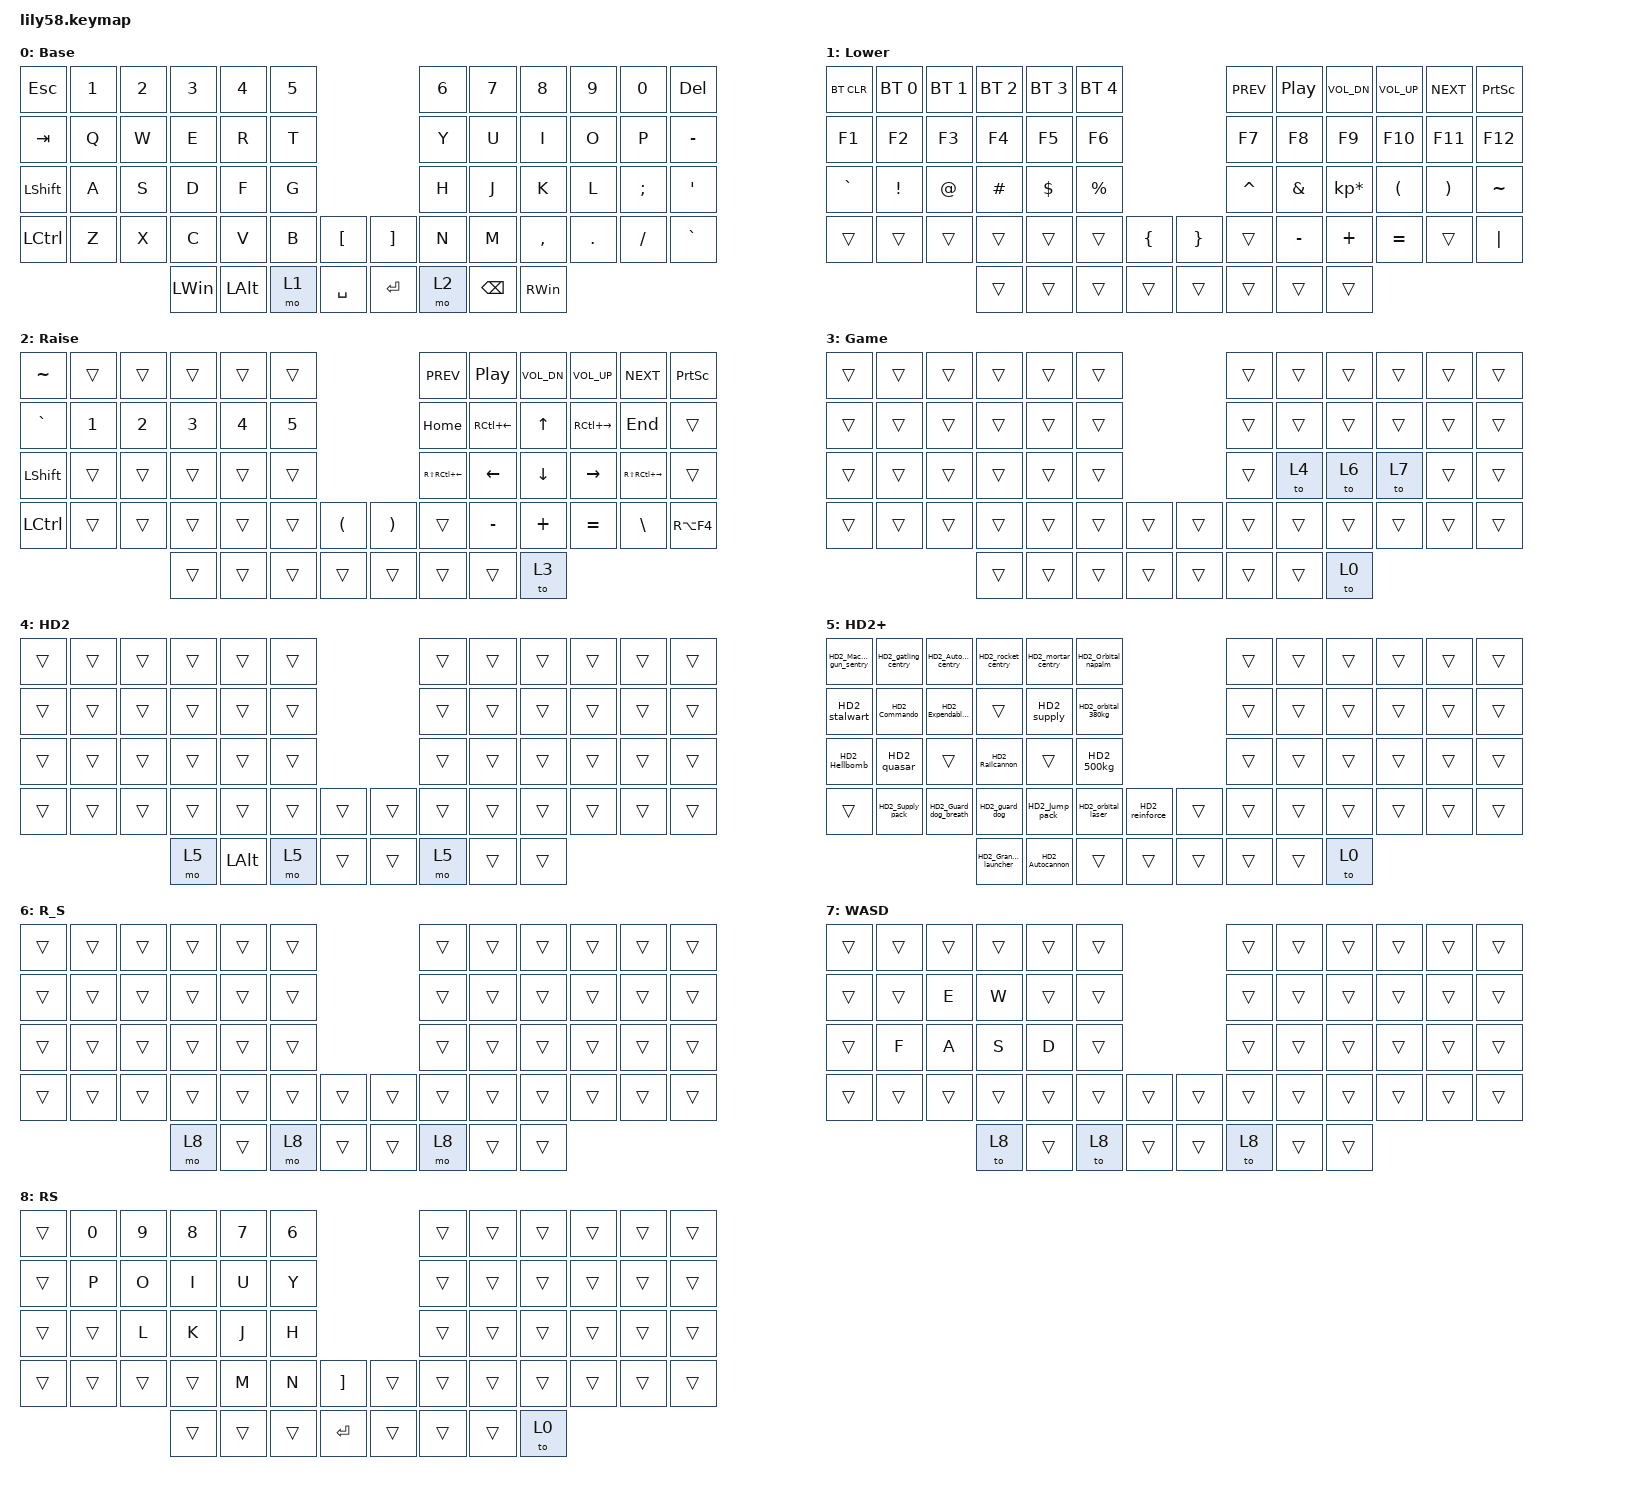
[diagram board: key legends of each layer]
/*
 * Copyright (c) 2020 The ZMK Contributors
 *
 * SPDX-License-Identifier: MIT
 */

#include <behaviors.dtsi>
#include <dt-bindings/zmk/bt.h>
#include <dt-bindings/zmk/keys.h>

/ {
    combos {
        compatible = "zmk,combos";

        lang_shift {
            bindings = <&kp LG(SPACE)>;
            key-positions = <28 27 26>;
            timeout-ms = <200>;
            layers = <0>;
        };
    };

    macros {
        HD2_supply: hd2_supply {
            compatible = "zmk,behavior-macro";
            #binding-cells = <0>;
            bindings = <&kt LCTRL &trans &kp D &trans &kp D &trans &kp E &trans &kp F &trans &kt LCTRL>;
            label = "HD2_SEPLY";
        };

        HD2_reinforce: hd2_reinforce {
            compatible = "zmk,behavior-macro";
            #binding-cells = <0>;
            bindings = <&kt LCTRL &trans &kp E &trans &kp D &trans &kp F &trans &kp S &trans &kp E &trans &kt LCTRL>;
            label = "HD2_REINFORCE";
        };

        HD2_gatling_centry: hd2_gatling_centry {
            compatible = "zmk,behavior-macro";
            #binding-cells = <0>;
            bindings = <&kt LCTRL &trans &kp D &trans &kp E &trans &kp F &trans &kp S &trans &kt LCTRL>;
            label = "HD2_GATLING_CENTRY";
        };

        HD2_stalwart: HD2_stalwart {
            compatible = "zmk,behavior-macro";
            #binding-cells = <0>;
            bindings = <&kt LCTRL &trans &kp D &trans &kp S &trans &kp D &trans &kp E &trans &kp E &trans &kp S &trans &kt LCTRL>;
            label = "HD2_STALWART";
        };

        HD2_500kg: HD2_500kg {
            compatible = "zmk,behavior-macro";
            #binding-cells = <0>;
            bindings = <&kt LCTRL &trans &kp E &trans &kp F &trans &kp D &trans &kp D &trans &kp D &trans &kt LCTRL>;
            label = "HD2_500KG";
        };

        HD2_guard_dog: HD2_guard_dog {
            compatible = "zmk,behavior-macro";
            #binding-cells = <0>;
            bindings = <&kt LCTRL &trans &kp D &trans &kp E &trans &kp S &trans &kp E &trans &kp F &trans &kp D &trans &kt LCTRL>;
            label = "HD2_GUARD_DOG";
        };

        HD2_rocket_centry: HD2_rocket_centry {
            compatible = "zmk,behavior-macro";
            #binding-cells = <0>;
            bindings = <&kt LCTRL &trans &kp D &trans &kp E &trans &kp F &trans &kp F &trans &kp S &trans &kt LCTRL>;
            label = "HD2_ROCKET_CENTRY";
        };

        HD2_guard_dog_rover: HD2_guard_dog_rover {
            compatible = "zmk,behavior-macro";
            #binding-cells = <0>;
            bindings = <&kt LCTRL &trans &kp D &trans &kp E &trans &kp S &trans &kp E &trans &kp F &trans &kp F &trans &kt LCTRL>;
            label = "HD2_GUARD_DOG_ROVER";
        };

        HD2_orbital_laser: HD2_orbital_laser {
            compatible = "zmk,behavior-macro";
            #binding-cells = <0>;
            bindings = <&kt LCTRL &trans &kp F &trans &kp D &trans &kp E &trans &kp F &trans &kp D &trans &kt LCTRL>;
            label = "HD2_ORBITAL_LASER";
        };

        HD2_mortar_centry: HD2_mortar_centry {
            compatible = "zmk,behavior-macro";
            #binding-cells = <0>;
            bindings = <&kt LCTRL &trans &kp D &trans &kp E &trans &kp F &trans &kp F &trans &kp D &trans &kt LCTRL>;
            label = "HD2_MORTAR_CENTRY";
        };

        HD2_Autocannon_centry: HD2_Autocannon_centry {
            compatible = "zmk,behavior-macro";
            #binding-cells = <0>;
            bindings = <&kt LCTRL &trans &kp D &trans &kp E &trans &kp F &trans &kp E &trans &kp S &trans &kp E &trans &kt LCTRL>;
            label = "HD2_AUTOCANNON_CENTRY";
        };

        HD2_orbital_380kg: HD2_orbital_380kg {
            compatible = "zmk,behavior-macro";
            #binding-cells = <0>;
            bindings = <&kt LCTRL &trans &kp F &trans &kp D &trans &kp E &trans &kp E &trans &kp S &trans &kp D &trans &kp D &trans &kt LCTRL>;
            label = "HD2_ORBITAL_380KG";
        };

        HD2_Anti_material_rifle: HD2_Anti_material_rifle {
            compatible = "zmk,behavior-macro";
            #binding-cells = <0>;
            bindings = <&kt LCTRL &trans &kp D &trans &kp S &trans &kp F &trans &kp E &trans &kp D &trans &kt LCTRL>;
            label = "HD2_ANTI_MATERIAL_RIFLE";
        };

        HD2_Jump_pack: HD2_Jump_pack {
            compatible = "zmk,behavior-macro";
            #binding-cells = <0>;
            bindings = <&kt LCTRL &trans &kp D &trans &kp E &trans &kp E &trans &kp D &trans &kp E &trans &kt LCTRL>;
            label = "HD2_JUMP_PACK";
        };

        HD2_Eagle_napalm: HD2_Eagle_napalm {
            compatible = "zmk,behavior-macro";
            #binding-cells = <0>;
            bindings = <&kt LCTRL &trans &kp E &trans &kp F &trans &kp D &trans &kp E &trans &kt LCTRL>;
            label = "HD2_EAGLE_NAPALM";
        };

        HD2_quasar: HD2_quasar {
            compatible = "zmk,behavior-macro";
            #binding-cells = <0>;
            bindings = <&kt LCTRL &trans &kp D &trans &kp D &trans &kp E &trans &kp S &trans &kp F &trans &kt LCTRL>;
            label = "HD2_QUASAR";
        };

        HD2_Orbital_napalm: HD2_Orbital_napalm {
            compatible = "zmk,behavior-macro";
            #binding-cells = <0>;
            bindings = <&kt LCTRL &trans &kp F &trans &kp F &trans &kp D &trans &kp S &trans &kp F &trans &kp E &trans &kt LCTRL>;
            label = "HD2_ORBITAL_NAPALM";
        };

        HD2_Machine_gun_sentry: HD2_Machine_gun_sentry {
            compatible = "zmk,behavior-macro";
            #binding-cells = <0>;
            bindings = <&kt LCTRL &trans &kp D &trans &kp E &trans &kp F &trans &kp F &trans &kp E &trans &kt LCTRL>;
            label = "HD2_MACHINE_GUN_SENTRY";
        };

        HD2_Granade_launcher: HD2_Granade_launcher {
            compatible = "zmk,behavior-macro";
            #binding-cells = <0>;
            bindings = <&kt LCTRL &trans &kp D &trans &kp S &trans &kp E &trans &kp S &trans &kp D &trans &kt LCTRL>;
            label = "HD2_GRANADE_LAUNCHER";
        };

        HD2_Autocannon: HD2_Autocannon {
            compatible = "zmk,behavior-macro";
            #binding-cells = <0>;
            bindings = <&kt LCTRL &trans &kp D &trans &kp S &trans &kp D &trans &kp E &trans &kp E &trans &kp F &trans &kt LCTRL>;
            label = "HD2_AUTOCANNON";
        };

        HD2_Guard_dog_breath: HD2_Guard_dog_breath {
            compatible = "zmk,behavior-macro";
            #binding-cells = <0>;
            bindings = <&kt LCTRL &trans &kp D &trans &kp E &trans &kp S &trans &kp E &trans &kp F &trans &kp E &trans &kt LCTRL>;
            label = "HD2_GUARD_DOG_BREATH";
        };

        HD2_Expendable_AT: HD2_Expendable_AT {
            compatible = "zmk,behavior-macro";
            #binding-cells = <0>;
            bindings = <&kt LCTRL &trans &kp D &trans &kp D &trans &kp S &trans &kp E &trans &kp F &trans &kt LCTRL>;
            label = "HD2_EXPENDABLE_AT";
        };

        HD2_Commando: HD2_Commando {
            compatible = "zmk,behavior-macro";
            #binding-cells = <0>;
            bindings = <&kt LCTRL &trans &kp D &trans &kp S &trans &kp E &trans &kp D &trans &kp F &kt LCTRL>;
            label = "HD2_COMMANDO";
        };

        HD2_Supply_pack: HD2_Supply_pack {
            compatible = "zmk,behavior-macro";
            #binding-cells = <0>;
            bindings = <&kt LCTRL &trans &kp D &trans &kp S &trans &kp D &trans &kp E &trans &kp E &trans &kp D &kt LCTRL>;
            label = "HD2_SUPPLY_PACK";
        };

        HD2_Railcannon: HD2_Railcannon {
            compatible = "zmk,behavior-macro";
            #binding-cells = <0>;
            bindings = <&kt LCTRL &trans &kp F &trans &kp E &trans &kp D &trans &kp D &trans &kp F &kt LCTRL>;
            label = "HD2_RAILCANNON";
        };

        HD2_Hellbomb: HD2_Hellbomb {
            compatible = "zmk,behavior-macro";
            #binding-cells = <0>;
            bindings = <&kt LCTRL &trans &kp D &trans &kp E &trans &kp S &trans &kp D &trans &kp E &trans &kp F &trans &kp D &trans &kp E &kt LCTRL>;
            label = "HD2_HELLBOMB";
        };
    };

    keymap {
        compatible = "zmk,keymap";

        default_layer {
            // ------------------------------------------------------------------------------------------------------------
            // |  ESC  |  1  |  2  |  3   |  4   |  5   |                   |  6   |  7    |  8    |  9   |   0   |   `   |
            // |  TAB  |  Q  |  W  |  E   |  R   |  T   |                   |  Y   |  U    |  I    |  O   |   P   |   -   |
            // |  CTRL |  A  |  S  |  D   |  F   |  G   |                   |  H   |  J    |  K    |  L   |   ;   |   '   |
            // | SHIFT |  Z  |  X  |  C   |  V   |  B   |   "["  |  |  "]"  |  N   |  M    |  ,    |  .   |   /   | SHIFT |
            //                     | ALT  | GUI  | LOWER|  SPACE |  | ENTER | RAISE| BSPC  | GUI   |

            display-name = "Base";
            bindings = <
&kp ESC     &kp N1  &kp N2  &kp N3        &kp N4        &kp N5                                         &kp N6  &kp N7         &kp N8         &kp N9   &kp N0    &kp DELETE
&kp TAB     &kp Q   &kp W   &kp E         &kp R         &kp T                                          &kp Y   &kp U          &kp I          &kp O    &kp P     &kp MINUS
&kp LSHIFT  &kp A   &kp S   &kp D         &kp F         &kp G                                          &kp H   &kp J          &kp K          &kp L    &kp SEMI  &kp SQT
&kp LCTRL   &kp Z   &kp X   &kp C         &kp V         &kp B   &kp LEFT_BRACKET    &kp RIGHT_BRACKET  &kp N   &kp M          &kp COMMA      &kp DOT  &kp FSLH  &kp GRAVE
                            &kp LEFT_WIN  &kp LEFT_ALT  &mo 1   &kp SPACE           &kp RET            &mo 2   &kp BACKSPACE  &kp RIGHT_WIN
            >;
        };

        lower_layer {
            // ------------------------------------------------------------------------------------------------------------
            // | BTCLR | BT1 | BT2 |  BT3 |  BT4 |  BT5 |                   |      |       |       |      |       |       |
            // |  F1   |  F2 |  F3 |  F4  |  F5  |  F6  |                   |  F7  |  F8   |  F9   |  F10 |  F11  |  F12  |
            // |   `   |  !  |  @  |  #   |  $   |  %   |                   |  ^   |  &    |  *    |  (   |   )   |   ~   |
            // |       |     |     |      |      |      |        |  |       |      |  _    |  +    |  {   |   }   |  "|"  |
            //                     |      |      |      |        |  |       |      |       |       |

            display-name = "Lower";
            bindings = <
&bt BT_CLR  &bt BT_SEL 0  &bt BT_SEL 1  &bt BT_SEL 2  &bt BT_SEL 3  &bt BT_SEL 4                                     &kp C_PREV  &kp C_PLAY_PAUSE  &kp C_VOL_DN     &kp C_VOL_UP  &kp C_NEXT  &kp PRINTSCREEN
&kp F1      &kp F2        &kp F3        &kp F4        &kp F5        &kp F6                                           &kp F7      &kp F8            &kp F9           &kp F10       &kp F11     &kp F12
&kp GRAVE   &kp EXCL      &kp AT        &kp HASH      &kp DOLLAR    &kp PRCNT                                        &kp CARET   &kp AMPS          &kp KP_MULTIPLY  &kp LPAR      &kp RPAR    &kp TILDE
&trans      &trans        &trans        &trans        &trans        &trans        &kp LEFT_BRACE    &kp RIGHT_BRACE  &trans      &kp MINUS         &kp PLUS         &kp EQUAL     &trans      &kp PIPE
                                        &trans        &trans        &trans        &trans            &trans           &trans      &trans            &trans
            >;
        };

        raise_layer {
            // ------------------------------------------------------------------------------------------------------------
            // |       |     |     |      |      |      |                   |      |       |       |      |       |       |
            // |   `   |  1  |  2  |  3   |  4   |  5   |                   |  6   |   7   |   8   |  9   |   0   |       |
            // |   F1  |  F2 |  F3 |  F4  |  F5  |  F6  |                   |      |   <-  |   v   |  ^   |  ->   |       |
            // |   F7  |  F8 |  F9 |  F10 |  F11 |  F12 |        |  |       |  +   |   -   |   =   |  [   |   ]   |   \   |
            //                     |      |      |      |        |  |       |      |       |       |

            display-name = "Raise";
            bindings = <
&kp TILDE         &trans        &trans        &trans        &trans        &trans                              &kp C_PREV        &kp C_PLAY_PAUSE  &kp C_VOL_DN  &kp C_VOL_UP   &kp C_NEXT         &kp PRINTSCREEN
&kp GRAVE         &kp NUMBER_1  &kp NUMBER_2  &kp NUMBER_3  &kp NUMBER_4  &kp NUMBER_5                        &kp HOME          &kp RC(LEFT)      &kp UP_ARROW  &kp RC(RIGHT)  &kp END            &trans
&kp LEFT_SHIFT    &trans        &trans        &trans        &trans        &trans                              &kp RS(RC(LEFT))  &kp LEFT          &kp DOWN      &kp RIGHT      &kp RS(RC(RIGHT))  &trans
&kp LEFT_CONTROL  &trans        &trans        &trans        &trans        &trans        &kp LPAR    &kp RPAR  &trans            &kp MINUS         &kp PLUS      &kp EQUAL      &kp BSLH           &kp RA(F4)
                                              &trans        &trans        &trans        &trans      &trans    &trans            &trans            &to 3
            >;
        };

        Game {
            bindings = <
&trans  &trans  &trans  &trans  &trans  &trans                    &trans  &trans  &trans  &trans  &trans  &trans
&trans  &trans  &trans  &trans  &trans  &trans                    &trans  &trans  &trans  &trans  &trans  &trans
&trans  &trans  &trans  &trans  &trans  &trans                    &trans  &to 4   &to 6   &to 7   &trans  &trans
&trans  &trans  &trans  &trans  &trans  &trans  &trans    &trans  &trans  &trans  &trans  &trans  &trans  &trans
                        &trans  &trans  &trans  &trans    &trans  &trans  &trans  &to 0
            >;

            label = "Game";
        };

        Helldivers2 {
            bindings = <
&trans  &trans  &trans  &trans  &trans        &trans                    &trans  &trans  &trans  &trans  &trans  &trans
&trans  &trans  &trans  &trans  &trans        &trans                    &trans  &trans  &trans  &trans  &trans  &trans
&trans  &trans  &trans  &trans  &trans        &trans                    &trans  &trans  &trans  &trans  &trans  &trans
&trans  &trans  &trans  &trans  &trans        &trans  &trans    &trans  &trans  &trans  &trans  &trans  &trans  &trans
                        &mo 5   &kp LEFT_ALT  &mo 5   &trans    &trans  &mo 5   &trans  &trans
            >;

            label = "HD2";
        };

        Helldivers2+ {
            bindings = <
&HD2_Machine_gun_sentry  &HD2_gatling_centry  &HD2_Autocannon_centry  &HD2_rocket_centry     &HD2_mortar_centry  &HD2_Orbital_napalm                            &trans  &trans  &trans  &trans  &trans  &trans
&HD2_stalwart            &HD2_Commando        &HD2_Expendable_AT      &trans                 &HD2_supply         &HD2_orbital_380kg                             &trans  &trans  &trans  &trans  &trans  &trans
&HD2_Hellbomb            &HD2_quasar          &trans                  &HD2_Railcannon        &trans              &HD2_500kg                                     &trans  &trans  &trans  &trans  &trans  &trans
&trans                   &HD2_Supply_pack     &HD2_Guard_dog_breath   &HD2_guard_dog         &HD2_Jump_pack      &HD2_orbital_laser   &HD2_reinforce    &trans  &trans  &trans  &trans  &trans  &trans  &trans
                                                                      &HD2_Granade_launcher  &HD2_Autocannon     &trans               &trans            &trans  &trans  &trans  &to 0
            >;

            label = "HD2+";
        };

        R_S {
            bindings = <
&trans  &trans  &trans  &trans  &trans  &trans                    &trans  &trans  &trans  &trans  &trans  &trans
&trans  &trans  &trans  &trans  &trans  &trans                    &trans  &trans  &trans  &trans  &trans  &trans
&trans  &trans  &trans  &trans  &trans  &trans                    &trans  &trans  &trans  &trans  &trans  &trans
&trans  &trans  &trans  &trans  &trans  &trans  &trans    &trans  &trans  &trans  &trans  &trans  &trans  &trans
                        &mo 8   &trans  &mo 8   &trans    &trans  &mo 8   &trans  &trans
            >;

            label = "R_S";
        };

        WASD_remap {
            bindings = <
&trans  &trans  &trans  &trans  &trans  &trans                    &trans  &trans  &trans  &trans  &trans  &trans
&trans  &trans  &kp E   &kp W   &trans  &trans                    &trans  &trans  &trans  &trans  &trans  &trans
&trans  &kp F   &kp A   &kp S   &kp D   &trans                    &trans  &trans  &trans  &trans  &trans  &trans
&trans  &trans  &trans  &trans  &trans  &trans  &trans    &trans  &trans  &trans  &trans  &trans  &trans  &trans
                        &to 8   &trans  &to 8   &trans    &trans  &to 8   &trans  &trans
            >;

            label = "WASD";
        };

        Right_side {
            bindings = <
&trans  &kp NUMBER_0  &kp N9  &kp NUMBER_8  &kp NUMBER_7  &kp NUMBER_6                               &trans  &trans  &trans  &trans  &trans  &trans
&trans  &kp P         &kp O   &kp I         &kp U         &kp Y                                      &trans  &trans  &trans  &trans  &trans  &trans
&trans  &trans        &kp L   &kp K         &kp J         &kp H                                      &trans  &trans  &trans  &trans  &trans  &trans
&trans  &trans        &trans  &trans        &kp M         &kp N         &kp RIGHT_BRACKET    &trans  &trans  &trans  &trans  &trans  &trans  &trans
                              &trans        &trans        &trans        &kp ENTER            &trans  &trans  &trans  &to 0
            >;

            label = "RS";
        };
    };
};
